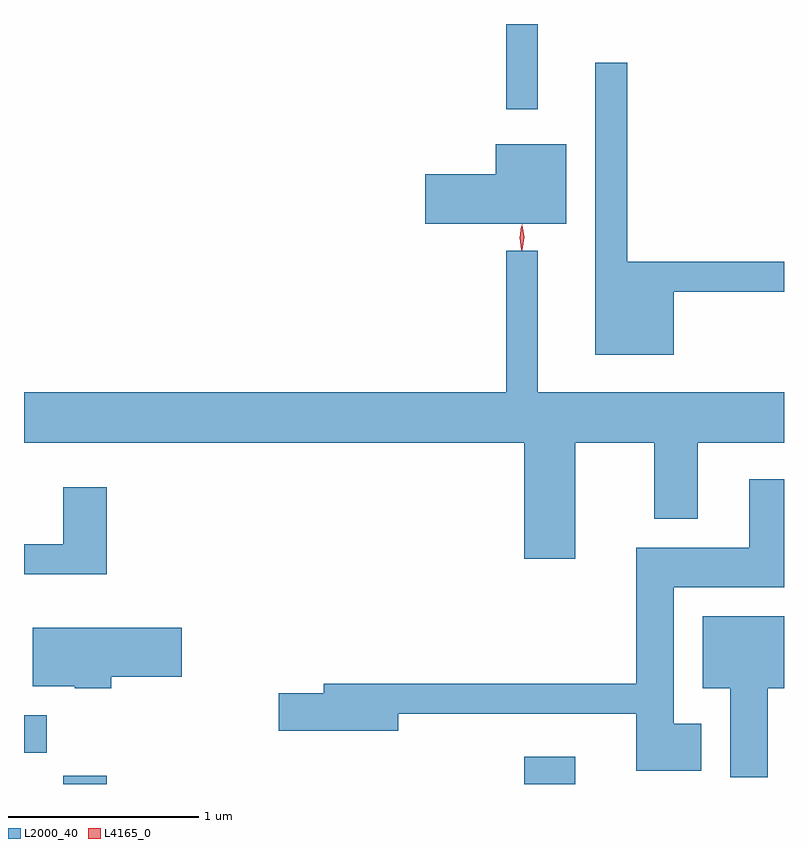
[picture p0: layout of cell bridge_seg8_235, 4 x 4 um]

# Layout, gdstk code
import gdstk
lib = gdstk.Library(unit=1e-6, precision=1e-09)
def R(c, l, rs):  # rectangles x0, y0, x1, y1
    for r in rs: c.add(gdstk.rectangle(r[:2], r[2:], *l))
def P(c, l, *ps):  # polygons
    for p in ps: c.add(gdstk.Polygon(p, *l))
L2000_40 = (2000, 40)
L4165_0 = (4165, 0)

bridge_seg8_235 = lib.new_cell('bridge_seg8_235')
R(bridge_seg8_235, L2000_40, [(1051.811,1863.481,1052.039,1863.524), (1054.236,1863.481,1054.504,1863.624), (1051.604,1863.646,1051.724,1863.844), (1054.141,1867.033,1054.309,1867.481)])
P(bridge_seg8_235, L2000_40, [(1055.024,1866.071),(1055.604,1866.071),(1055.604,1866.229),(1054.779,1866.229),(1054.779,1867.278),(1054.611,1867.278),(1054.611,1865.741),(1055.024,1865.741)],
  [(1054.459,1866.849),(1054.086,1866.849),(1054.086,1866.689),(1053.716,1866.689),(1053.716,1866.431),(1054.459,1866.431)],
  [(1054.504,1865.276),(1054.921,1865.276),(1054.921,1864.876),(1055.149,1864.876),(1055.149,1865.276),(1055.604,1865.276),(1055.604,1865.544),(1054.309,1865.544),(1054.309,1866.288),(1054.141,1866.288),(1054.141,1865.544),(1051.604,1865.544),(1051.604,1865.276),(1054.236,1865.276),(1054.236,1864.666),(1054.504,1864.666)],
  [(1055.169,1863.799),(1055.024,1863.799),(1055.024,1864.516),(1055.604,1864.516),(1055.604,1865.084),(1055.421,1865.084),(1055.421,1864.724),(1054.826,1864.724),(1054.826,1864.009),(1053.181,1864.009),(1053.181,1863.959),(1052.946,1863.959),(1052.946,1863.761),(1053.574,1863.761),(1053.574,1863.851),(1054.826,1863.851),(1054.826,1863.551),(1055.169,1863.551)],
  [(1052.039,1865.044),(1051.811,1865.044),(1051.811,1864.744),(1051.604,1864.744),(1051.604,1864.586),(1052.039,1864.586)],
  [(1055.519,1863.986),(1055.604,1863.986),(1055.604,1864.364),(1055.176,1864.364),(1055.176,1863.986),(1055.321,1863.986),(1055.321,1863.516),(1055.519,1863.516)],
  [(1052.064,1864.046),(1052.434,1864.046),(1052.434,1864.304),(1051.651,1864.304),(1051.651,1863.996),(1051.87,1863.996),(1051.87,1863.986),(1052.064,1863.986)])
P(bridge_seg8_235, L4165_0, [(1054.222,1866.293),(1054.222,1866.293),(1054.212,1866.356),(1054.222,1866.419),(1054.222,1866.42),(1054.222,1866.419),(1054.232,1866.356),(1054.222,1866.293)],
  [(1054.224,1866.29),(1054.216,1866.358),(1054.226,1866.425),(1054.226,1866.426),(1054.227,1866.425),(1054.236,1866.358),(1054.226,1866.29),(1054.225,1866.29)])

lib.write_gds('bridge_seg8_235.gds')
